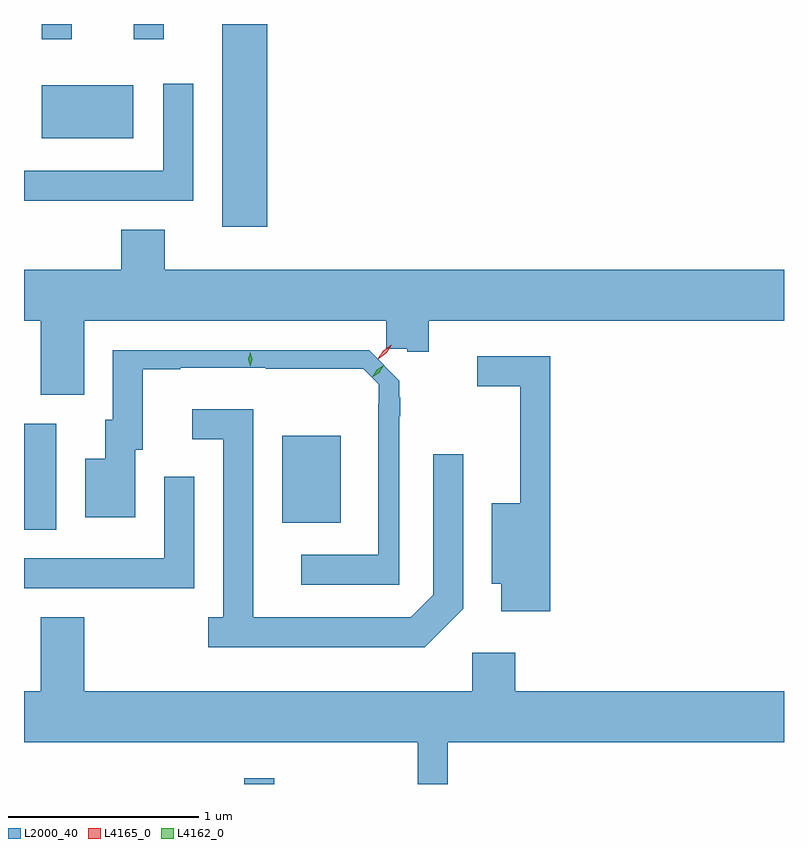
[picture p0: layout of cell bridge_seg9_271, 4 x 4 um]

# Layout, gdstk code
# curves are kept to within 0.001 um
import gdstk
lib = gdstk.Library(unit=1e-6, precision=1e-09)
def R(c, l, rs):  # rectangles x0, y0, x1, y1
    for r in rs: c.add(gdstk.rectangle(r[:2], r[2:], *l))
def P(c, l, *ps):  # polygons
    for p in ps: c.add(gdstk.Polygon(p, *l))
L2000_40 = (2000, 40)
L4162_0 = (4162, 0)
L4165_0 = (4165, 0)

bridge_seg9_271 = lib.new_cell('bridge_seg9_271')
R(bridge_seg9_271, L2000_40, [(1027.521,2011.577,1027.679,2011.608), (1026.363,2012.916,1026.534,2013.474), (1027.721,2012.951,1028.029,2013.409), (1027.406,2014.511,1027.644,2015.577), (1026.456,2014.976,1026.939,2015.254), (1026.456,2015.498,1026.614,2015.577), (1026.941,2015.498,1027.099,2015.577)])
P(bridge_seg9_271, L2000_40, [(1027.254,2015.263),(1027.096,2015.263),(1027.096,2014.804),(1026.363,2014.804),(1026.363,2014.646),(1027.254,2014.646)],
  [(1026.679,2014.016),(1028.27,2014.016),(1028.27,2013.868),(1028.38,2013.868),(1028.38,2013.851),(1028.494,2013.851),(1028.494,2014.016),(1030.363,2014.016),(1030.363,2014.284),(1027.104,2014.284),(1027.104,2014.494),(1026.876,2014.494),(1026.876,2014.284),(1026.363,2014.284),(1026.363,2014.016),(1026.451,2014.016),(1026.451,2013.626),(1026.679,2013.626)],
  [(1028.339,2013.512),(1028.342,2013.512),(1028.342,2013.612),(1028.339,2013.612),(1028.339,2013.7),(1028.18,2013.859),(1026.831,2013.859),(1026.831,2013.494),(1026.791,2013.494),(1026.791,2013.289),(1026.686,2013.289),(1026.686,2012.981),(1026.949,2012.981),(1026.949,2013.336),(1026.989,2013.336),(1026.989,2013.76),(1027.185,2013.76),(1027.185,2013.769),(1027.636,2013.769),(1027.636,2013.763),(1028.149,2013.763),(1028.229,2013.682),(1028.228,2012.784),(1027.823,2012.784),(1027.823,2012.626),(1028.339,2012.626)],
  [(1029.134,2013.829),(1028.748,2013.829),(1028.748,2013.671),(1028.976,2013.671),(1028.976,2013.054),(1028.826,2013.054),(1028.826,2012.631),(1028.876,2012.631),(1028.876,2012.486),(1029.134,2012.486)],
  [(1028.674,2012.499),(1028.674,2013.313),(1028.516,2013.313),(1028.516,2012.572),(1028.399,2012.454),(1027.569,2012.454),(1027.569,2013.549),(1027.248,2013.549),(1027.248,2013.391),(1027.411,2013.391),(1027.411,2012.454),(1027.333,2012.454),(1027.333,2012.296),(1028.472,2012.296)],
  [(1027.259,2013.193),(1027.101,2013.193),(1027.101,2012.764),(1026.363,2012.764),(1026.363,2012.606),(1027.259,2012.606)],
  [(1028.594,2011.796),(1030.363,2011.796),(1030.363,2012.064),(1028.949,2012.064),(1028.949,2012.269),(1028.721,2012.269),(1028.721,2012.064),(1026.679,2012.064),(1026.679,2012.454),(1026.451,2012.454),(1026.451,2012.064),(1026.363,2012.064),(1026.363,2011.796),(1028.436,2011.796),(1028.436,2011.577),(1028.594,2011.577)])
P(bridge_seg9_271, L4162_0, [(1028.196,2013.717),(1028.196,2013.717),(1028.219,2013.756),(1028.256,2013.781),(1028.257,2013.781),(1028.257,2013.78),(1028.233,2013.742),(1028.196,2013.717)],
  [(1027.554,2013.775),(1027.553,2013.776),(1027.544,2013.813),(1027.554,2013.849),(1027.554,2013.85),(1027.555,2013.849),(1027.564,2013.812),(1027.554,2013.776)])
P(bridge_seg9_271, L4165_0, [(1028.225,2013.813),(1028.225,2013.814),(1028.253,2013.858),(1028.295,2013.89),(1028.296,2013.89),(1028.296,2013.889),(1028.268,2013.845),(1028.225,2013.813)],
  [(1028.23,2013.814),(1028.23,2013.814),(1028.256,2013.856),(1028.295,2013.885),(1028.296,2013.885),(1028.296,2013.884),(1028.27,2013.843),(1028.23,2013.814)])

lib.write_gds('bridge_seg9_271.gds')
